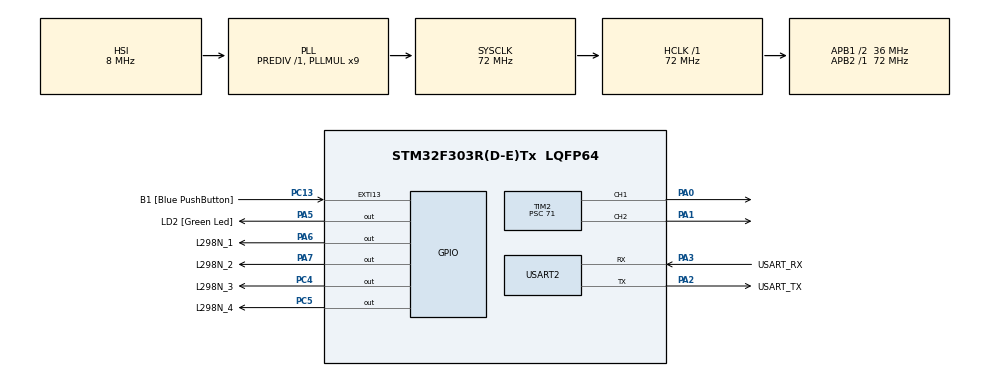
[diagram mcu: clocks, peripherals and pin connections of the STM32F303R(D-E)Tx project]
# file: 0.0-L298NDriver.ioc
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Mcu.Family=STM32F3
Mcu.Name=STM32F303R(D-E)Tx
Mcu.Package=LQFP64
NVIC.PriorityGroup=NVIC_PRIORITYGROUP_0
NVIC.USART2_IRQn=true\:0\:0\:false\:false\:true\:true\:true
PA0.Signal=S_TIM2_CH1_ETR
PA1.Signal=S_TIM2_CH2
PA13.GPIO_Label=TMS
PA13.Mode=Serial_Wire
PA13.Signal=SYS_JTMS-SWDIO
PA14.GPIO_Label=TCK
PA14.Mode=Serial_Wire
PA14.Signal=SYS_JTCK-SWCLK
PA2.GPIO_Label=USART_TX
PA2.GPIO_Mode=GPIO_MODE_AF_PP
PA2.GPIO_PuPd=GPIO_NOPULL
PA2.GPIO_Speed=GPIO_SPEED_FREQ_LOW
PA2.Mode=Asynchronous
PA2.Signal=USART2_TX
PA3.GPIO_Label=USART_RX
PA3.GPIO_Mode=GPIO_MODE_AF_PP
PA3.GPIO_PuPd=GPIO_NOPULL
PA3.GPIO_Speed=GPIO_SPEED_FREQ_LOW
PA3.Mode=Asynchronous
PA3.Signal=USART2_RX
PA5.GPIO_Label=LD2 [Green Led]
PA5.GPIO_Mode=GPIO_MODE_OUTPUT_PP
PA5.GPIO_PuPd=GPIO_NOPULL
PA5.GPIO_Speed=GPIO_SPEED_FREQ_LOW
PA5.Signal=GPIO_Output
PA6.GPIO_Label=L298N_1
PA6.Signal=GPIO_Output
PA7.GPIO_Label=L298N_2
PA7.Signal=GPIO_Output
PB3.GPIO_Label=SWO
PB3.Signal=SYS_JTDO-TRACESWO
PC13.GPIO_Label=B1 [Blue PushButton]
PC13.GPIO_ModeDefaultEXTI=GPIO_MODE_IT_FALLING
PC13.Signal=GPXTI13
PC14-OSC32_IN.Mode=LSE-External-Oscillator
PC14-OSC32_IN.Signal=RCC_OSC32_IN
PC15-OSC32_OUT.Mode=LSE-External-Oscillator
PC15-OSC32_OUT.Signal=RCC_OSC32_OUT
PC4.GPIO_Label=L298N_3
PC4.Signal=GPIO_Output
PC5.GPIO_Label=L298N_4
PC5.Signal=GPIO_Output
PF0-OSC_IN.Mode=HSE-External-Clock-Source
PF0-OSC_IN.Signal=RCC_OSC_IN
PF1-OSC_OUT.Signal=RCC_OSC_OUT
ProjectManager.HeapSize=0x200
ProjectManager.StackSize=0x400
ProjectManager.TargetToolchain=STM32CubeIDE
RCC.AHBFreq_Value=72000000
RCC.APB1CLKDivider=RCC_HCLK_DIV2
RCC.APB1Freq_Value=36000000
RCC.APB1TimFreq_Value=72000000
RCC.APB2Freq_Value=72000000
RCC.APB2TimFreq_Value=72000000
RCC.CortexFreq_Value=72000000
RCC.HCLKFreq_Value=72000000
RCC.HSE_VALUE=8000000
RCC.HSI_VALUE=8000000
RCC.PLLM=8
RCC.PLLMUL=RCC_PLL_MUL9
RCC.PLLN=336
RCC.PLLP=RCC_PLLP_DIV4
RCC.PLLQ=7
RCC.RCC_PLLsource_Clock_Source_FROM_HSE=RCC_HSE_PREDIV_DIV2
RCC.SYSCLKFreq_VALUE=72000000
RCC.SYSCLKSourceVirtual=RCC_SYSCLKSOURCE_PLLCLK
RCC.TIM2Selection=RCC_TIM2CLK_PLLCLK
RCC.USBFreq_Value=72000000
RCC.Usart2ClockSelection=RCC_USART2CLKSOURCE_SYSCLK
SH.S_TIM2_CH1_ETR.0=TIM2_CH1,PWM Generation1 CH1
SH.S_TIM2_CH2.0=TIM2_CH2,PWM Generation2 CH2
TIM2.Channel-PWM\ Generation1\ CH1=TIM_CHANNEL_1
TIM2.Channel-PWM\ Generation2\ CH2=TIM_CHANNEL_2
TIM2.Period=99
TIM2.Prescaler=71
USART2.VirtualMode-Asynchronous=VM_ASYNC
board=NUCLEO-F303RE

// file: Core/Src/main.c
/* USER CODE BEGIN Header */
/**
  ******************************************************************************
  * @file           : main.c
  * @brief          : Main program body
  ******************************************************************************
  * @attention
  *
  * <h2><center>&copy; Copyright (c) 2021 STMicroelectronics.
  * All rights reserved.</center></h2>
  *
  * This software component is licensed by ST under BSD 3-Clause license,
  * the "License"; You may not use this file except in compliance with the
  * License. You may obtain a copy of the License at:
  *                        opensource.org/licenses/BSD-3-Clause
  *
  ******************************************************************************
  */
/* USER CODE END Header */

#include "main.h"

/* USER CODE BEGIN Includes */
#include "L298N.h"
/* USER CODE END Includes */

TIM_HandleTypeDef htim2;

UART_HandleTypeDef huart2;

/* USER CODE BEGIN PV */
uint8_t u8_mode = 0;
uint8_t u8_dirChange = 0;

//L298N Motor
L298N_MotorHandler_t hmotor1;
L298N_MotorHandler_t hmotor2;

//Motor Speed
uint32_t u32_motor1_speed = L298N_MOTOR_SPEED_STOP;
uint32_t u32_motor2_speed = L298N_MOTOR_SPEED_STOP;

//Motor Direction
int8_t u8_motor1_direction = L298N_MOTOR_DIRECTION_STOP;
int8_t u8_motor2_direction = L298N_MOTOR_DIRECTION_STOP;

/* USER CODE END PV */

void SystemClock_Config(void);
static void MX_GPIO_Init(void);
static void MX_USART2_UART_Init(void);
static void MX_TIM2_Init(void);
static void L298N_Init(void);

int main(void)
{

  /* MCU Configuration--------------------------------------------------------*/

  /* Reset of all peripherals, Initializes the Flash interface and the Systick. */
  HAL_Init();

  /* Configure the system clock */
  SystemClock_Config();

  /* Initialize all configured peripherals */
  MX_GPIO_Init();
  MX_USART2_UART_Init();
  MX_TIM2_Init();
  /* USER CODE BEGIN 2 */
  L298N_Init();

  u32_motor1_speed = L298N_getMotorSpeed(&hmotor1);
  u32_motor2_speed = L298N_getMotorSpeed(&hmotor2);

  u8_motor1_direction = L298N_getMotorDirection(&hmotor1);
  u8_motor2_direction = L298N_getMotorDirection(&hmotor2);
  /* USER CODE END 2 */

  /* Infinite loop */
  while (1)
  {
    /* USER CODE BEGIN 3 */
	//Select Mode
	if(u32_motor1_speed == L298N_MOTOR_SPEED_MAX){
		u8_mode = 0;
	}else if(u32_motor1_speed == L298N_MOTOR_SPEED_MIN){
		u8_mode = 1;
	}

	//Change Motor 1 Direction Condition
	if(u32_motor1_speed == L298N_MOTOR_SPEED_MIN){
		//Select Motor 1 Direction
		if(u8_motor1_direction == L298N_MOTOR_DIRECTION_STOP){
			u8_motor1_direction = L298N_MOTOR_DIRECTION_FORWARD;
			u8_dirChange = 1;
		}else if(u8_motor1_direction == L298N_MOTOR_DIRECTION_FORWARD){
			u8_motor1_direction = L298N_MOTOR_DIRECTION_BACKWARD;
			u8_dirChange = 1;
		}else if(u8_motor1_direction == L298N_MOTOR_DIRECTION_BACKWARD){
			u8_motor1_direction = L298N_MOTOR_DIRECTION_FORWARD;
			u8_dirChange = 1;
		}else{
			u8_motor1_direction = L298N_MOTOR_DIRECTION_STOP;
			u8_dirChange = 1;
		}

		//Change Motor 1 Direction
		if (u8_dirChange){
			L298N_setMotorDirection(&hmotor1, u8_motor1_direction);
			u8_dirChange = 0;
		}
	}

	//Change Motor 2 Direction Condition
	if(u32_motor2_speed == L298N_MOTOR_SPEED_MIN){
		//Select Motor 2 Direction
		if(u8_motor2_direction == L298N_MOTOR_DIRECTION_STOP){
			u8_motor2_direction = L298N_MOTOR_DIRECTION_FORWARD;
			u8_dirChange = 1;
		}else if(u8_motor2_direction == L298N_MOTOR_DIRECTION_FORWARD){
			u8_motor2_direction = L298N_MOTOR_DIRECTION_BACKWARD;
			u8_dirChange = 1;
		}else if(u8_motor2_direction == L298N_MOTOR_DIRECTION_BACKWARD){
			u8_motor2_direction = L298N_MOTOR_DIRECTION_FORWARD;
			u8_dirChange = 1;
		}else{
			u8_motor2_direction = L298N_MOTOR_DIRECTION_STOP;
			u8_dirChange = 1;
		}

		//Change Motor 2 Direction
		if (u8_dirChange){
			L298N_setMotorDirection(&hmotor2, u8_motor2_direction);
			u8_dirChange = 0;
		}
	}

	//Motor Speed Inc or Dec
	if (u8_mode){
		L298N_setMotorSpeed(&hmotor1, u32_motor1_speed);
		L298N_setMotorSpeed(&hmotor2, u32_motor2_speed);

		u32_motor1_speed++;
		u32_motor2_speed++;
	}else{
		L298N_setMotorSpeed(&hmotor1, u32_motor1_speed);
		L298N_setMotorSpeed(&hmotor2, u32_motor2_speed);

		u32_motor1_speed--;
		u32_motor2_speed--;
	}
	HAL_Delay(250);

  }
  /* USER CODE END 3 */
}

void SystemClock_Config(void)
{
  RCC_OscInitTypeDef RCC_OscInitStruct = {0};
  RCC_ClkInitTypeDef RCC_ClkInitStruct = {0};
  RCC_PeriphCLKInitTypeDef PeriphClkInit = {0};

  /** Initializes the CPU, AHB and APB busses clocks
  */
  RCC_OscInitStruct.OscillatorType = RCC_OSCILLATORTYPE_HSI;
  RCC_OscInitStruct.HSIState = RCC_HSI_ON;
  RCC_OscInitStruct.HSICalibrationValue = RCC_HSICALIBRATION_DEFAULT;
  RCC_OscInitStruct.PLL.PLLState = RCC_PLL_ON;
  RCC_OscInitStruct.PLL.PLLSource = RCC_PLLSOURCE_HSI;
  RCC_OscInitStruct.PLL.PLLMUL = RCC_PLL_MUL9;
  RCC_OscInitStruct.PLL.PREDIV = RCC_PREDIV_DIV1;
  if (HAL_RCC_OscConfig(&RCC_OscInitStruct) != HAL_OK)
  {
    Error_Handler();
  }
  /** Initializes the CPU, AHB and APB busses clocks
  */
  RCC_ClkInitStruct.ClockType = RCC_CLOCKTYPE_HCLK|RCC_CLOCKTYPE_SYSCLK
                              |RCC_CLOCKTYPE_PCLK1|RCC_CLOCKTYPE_PCLK2;
  RCC_ClkInitStruct.SYSCLKSource = RCC_SYSCLKSOURCE_PLLCLK;
  RCC_ClkInitStruct.AHBCLKDivider = RCC_SYSCLK_DIV1;
  RCC_ClkInitStruct.APB1CLKDivider = RCC_HCLK_DIV2;
  RCC_ClkInitStruct.APB2CLKDivider = RCC_HCLK_DIV1;

  if (HAL_RCC_ClockConfig(&RCC_ClkInitStruct, FLASH_LATENCY_2) != HAL_OK)
  {
    Error_Handler();
  }
  PeriphClkInit.PeriphClockSelection = RCC_PERIPHCLK_USART2|RCC_PERIPHCLK_TIM2;
  PeriphClkInit.Usart2ClockSelection = RCC_USART2CLKSOURCE_SYSCLK;
  PeriphClkInit.Tim2ClockSelection = RCC_TIM2CLK_PLLCLK;
  if (HAL_RCCEx_PeriphCLKConfig(&PeriphClkInit) != HAL_OK)
  {
    Error_Handler();
  }
}

static void MX_TIM2_Init(void)
{

  TIM_MasterConfigTypeDef sMasterConfig = {0};
  TIM_OC_InitTypeDef sConfigOC = {0};

  htim2.Instance = TIM2;
  htim2.Init.Prescaler = 71;
  htim2.Init.CounterMode = TIM_COUNTERMODE_UP;
  htim2.Init.Period = 99;
  htim2.Init.ClockDivision = TIM_CLOCKDIVISION_DIV1;
  htim2.Init.AutoReloadPreload = TIM_AUTORELOAD_PRELOAD_DISABLE;
  if (HAL_TIM_PWM_Init(&htim2) != HAL_OK)
  {
    Error_Handler();
  }
  sMasterConfig.MasterOutputTrigger = TIM_TRGO_RESET;
  sMasterConfig.MasterSlaveMode = TIM_MASTERSLAVEMODE_DISABLE;
  if (HAL_TIMEx_MasterConfigSynchronization(&htim2, &sMasterConfig) != HAL_OK)
  {
    Error_Handler();
  }
  sConfigOC.OCMode = TIM_OCMODE_PWM1;
  sConfigOC.Pulse = 0;
  sConfigOC.OCPolarity = TIM_OCPOLARITY_HIGH;
  sConfigOC.OCFastMode = TIM_OCFAST_DISABLE;
  if (HAL_TIM_PWM_ConfigChannel(&htim2, &sConfigOC, TIM_CHANNEL_1) != HAL_OK)
  {
    Error_Handler();
  }
  if (HAL_TIM_PWM_ConfigChannel(&htim2, &sConfigOC, TIM_CHANNEL_2) != HAL_OK)
  {
    Error_Handler();
  }
  HAL_TIM_MspPostInit(&htim2);

}

static void MX_USART2_UART_Init(void)
{

  huart2.Instance = USART2;
  huart2.Init.BaudRate = 38400;
  huart2.Init.WordLength = UART_WORDLENGTH_8B;
  huart2.Init.StopBits = UART_STOPBITS_1;
  huart2.Init.Parity = UART_PARITY_NONE;
  huart2.Init.Mode = UART_MODE_TX_RX;
  huart2.Init.HwFlowCtl = UART_HWCONTROL_NONE;
  huart2.Init.OverSampling = UART_OVERSAMPLING_16;
  huart2.Init.OneBitSampling = UART_ONE_BIT_SAMPLE_DISABLE;
  huart2.AdvancedInit.AdvFeatureInit = UART_ADVFEATURE_NO_INIT;
  if (HAL_UART_Init(&huart2) != HAL_OK)
  {
    Error_Handler();
  }

}

static void MX_GPIO_Init(void)
{
  GPIO_InitTypeDef GPIO_InitStruct = {0};

  /* GPIO Ports Clock Enable */
  __HAL_RCC_GPIOC_CLK_ENABLE();
  __HAL_RCC_GPIOF_CLK_ENABLE();
  __HAL_RCC_GPIOA_CLK_ENABLE();
  __HAL_RCC_GPIOB_CLK_ENABLE();

  /*Configure GPIO pin Output Level */
  HAL_GPIO_WritePin(GPIOA, LD2_Pin|L298N_1_Pin|L298N_2_Pin, GPIO_PIN_RESET);

  /*Configure GPIO pin Output Level */
  HAL_GPIO_WritePin(GPIOC, L298N_3_Pin|L298N_4_Pin, GPIO_PIN_RESET);

  /*Configure GPIO pin : B1_Pin */
  GPIO_InitStruct.Pin = B1_Pin;
  GPIO_InitStruct.Mode = GPIO_MODE_IT_FALLING;
  GPIO_InitStruct.Pull = GPIO_NOPULL;
  HAL_GPIO_Init(B1_GPIO_Port, &GPIO_InitStruct);

  /*Configure GPIO pins : LD2_Pin L298N_1_Pin L298N_2_Pin */
  GPIO_InitStruct.Pin = LD2_Pin|L298N_1_Pin|L298N_2_Pin;
  GPIO_InitStruct.Mode = GPIO_MODE_OUTPUT_PP;
  GPIO_InitStruct.Pull = GPIO_NOPULL;
  GPIO_InitStruct.Speed = GPIO_SPEED_FREQ_LOW;
  HAL_GPIO_Init(GPIOA, &GPIO_InitStruct);

  /*Configure GPIO pins : L298N_3_Pin L298N_4_Pin */
  GPIO_InitStruct.Pin = L298N_3_Pin|L298N_4_Pin;
  GPIO_InitStruct.Mode = GPIO_MODE_OUTPUT_PP;
  GPIO_InitStruct.Pull = GPIO_NOPULL;
  GPIO_InitStruct.Speed = GPIO_SPEED_FREQ_LOW;
  HAL_GPIO_Init(GPIOC, &GPIO_InitStruct);

}

/* USER CODE BEGIN 4 */

void L298N_Init(void){
	L298N_MotorConfig_t L298N_MotorConfig[2] = {0};

	//Configure Motor 1
	L298N_MotorConfig[0].tim = &htim2;
	L298N_MotorConfig[0].channel = TIM_CHANNEL_1;
	L298N_MotorConfig[0].port[0] = L298N_1_GPIO_Port;
	L298N_MotorConfig[0].port[1] = L298N_2_GPIO_Port;
	L298N_MotorConfig[0].pin[0] = L298N_1_Pin;
	L298N_MotorConfig[0].pin[1] = L298N_2_Pin;

	//Configure Motor 2
	L298N_MotorConfig[1].tim = &htim2;
	L298N_MotorConfig[1].channel = TIM_CHANNEL_2;
	L298N_MotorConfig[1].port[0] = L298N_3_GPIO_Port;
	L298N_MotorConfig[1].port[1] = L298N_4_GPIO_Port;
	L298N_MotorConfig[1].pin[0] = L298N_3_Pin;
	L298N_MotorConfig[1].pin[1] = L298N_4_Pin;

	//Init Motor 1
	if(L298N_OK != L298N_MotorInit(&hmotor1,&L298N_MotorConfig[0])){
		Error_Handler();
	}

	//Init Motor 2
	if(L298N_OK != L298N_MotorInit(&hmotor2, &L298N_MotorConfig[1])){
		Error_Handler();
	}

}

/* USER CODE END 4 */

void Error_Handler(void)
{
}

/************************ (C) COPYRIGHT STMicroelectronics *****END OF FILE****/
